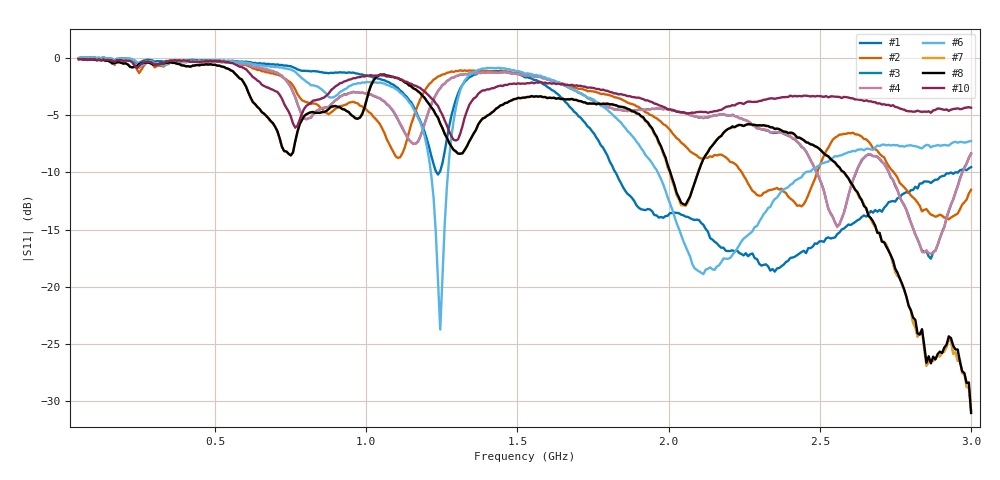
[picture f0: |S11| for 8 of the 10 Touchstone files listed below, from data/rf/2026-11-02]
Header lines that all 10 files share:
! NanoVNA-F_V2 fw 0.6.0 SN 4A3639384505514B
! cal: load open short cal'ed  over 50000000-3000000000 Hz, 201 points
! points 401, avg 4
# HZ S RI R 50
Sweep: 50 MHz to 3 GHz
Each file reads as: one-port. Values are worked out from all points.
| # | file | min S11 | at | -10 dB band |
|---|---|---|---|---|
| 1 | ant_batt_noboards_1.s1p | -18.7 dB | 2.351 GHz | 1.124 GHz wide |
| 2 | ant_boards_nobatt_1.s1p | -14.1 dB | 2.926 GHz | over 255.7 MHz wide |
| 3 | ant_installed_1.s1p | -17.5 dB | 2.867 GHz | 243.1 MHz wide |
| 4 | ant_installed_2.s1p | -17.1 dB | 2.867 GHz | 243 MHz wide |
| 5 | ant_reassembled_1.s1p | -24.6 dB | 2.528 GHz | 223 MHz wide |
| 6 | ant_shell_only_1.s1p | -23.7 dB | 1.245 GHz | 489 MHz wide |
| 7 | flex_ant_installed_1.s1p | -30.8 dB | 3 GHz | over 422.7 MHz wide |
| 8 | flex_ant_installed_2.s1p | -31.0 dB | 3 GHz | over 420 MHz wide |
| 9 | flex_ant_reassembled_1.s1p | -15.7 dB | 2.056 GHz | over 255.6 MHz wide |
| 10 | flex_ant_shell_only_1.s1p | -7.2 dB | 1.296 GHz | - |
